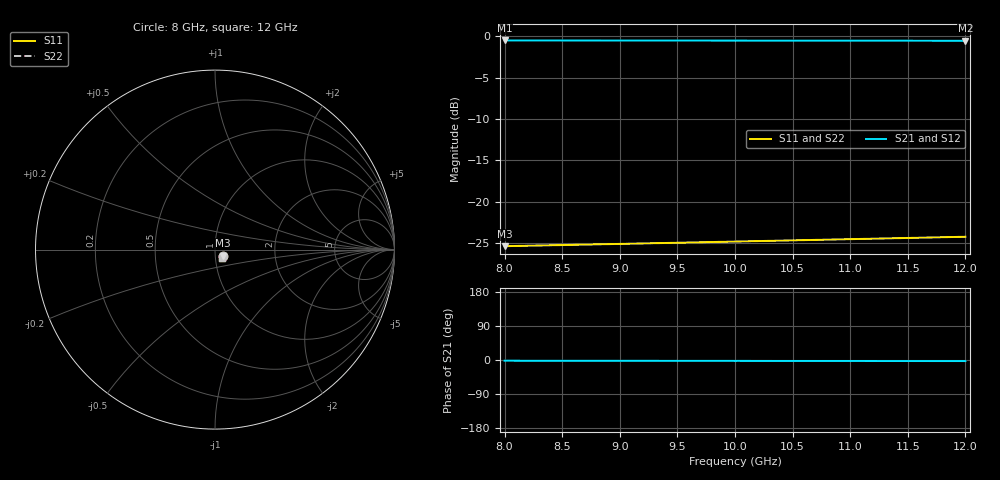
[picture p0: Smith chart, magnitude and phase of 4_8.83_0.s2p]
! Created Mon Oct 19 10:36:46 2020
# ghz S db R 50
! 2 Port Network Data from SP1.SP block
! freq  dbS11  angS11  dbS21  angS21  dbS12  angS12  dbS22  angS22
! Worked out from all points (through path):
!   9 points, 8 GHz to 12 GHz, reference 50 ohm
!   highest |S21| = -0.50 dB at 8 GHz (marker M1); lowest = -0.5 dB at 12 GHz (marker M2)
!   lowest |S11| = -25.4 dB at 8 GHz (marker M3), VSWR 1.11, Z = 54.3 - j3.61 ohm
!   |S11| at or under -10 dB: start of sweep to end of sweep
!   |S22| runs from -25.4 to -24.2 dB; largest |S21 - S12| = 3.3e-16
8  -25.38 -38.0  -0.50 -1.9  -0.50 -1.9  -25.38 -38.0
8.5  -25.25 -39.9  -0.50 -2.1  -0.50 -2.1  -25.25 -39.9
9  -25.11 -41.8  -0.50 -2.2  -0.50 -2.2  -25.11 -41.8
9.5  -24.97 -43.7  -0.51 -2.3  -0.51 -2.3  -24.97 -43.7
10  -24.82 -45.5  -0.51 -2.4  -0.51 -2.4  -24.82 -45.5
10.5  -24.68 -47.2  -0.52 -2.5  -0.52 -2.5  -24.68 -47.2
11  -24.54 -48.9  -0.52 -2.6  -0.52 -2.6  -24.54 -48.9
11.5  -24.39 -50.6  -0.53 -2.7  -0.53 -2.7  -24.39 -50.6
12  -24.24 -52.2  -0.53 -2.8  -0.53 -2.8  -24.24 -52.2
